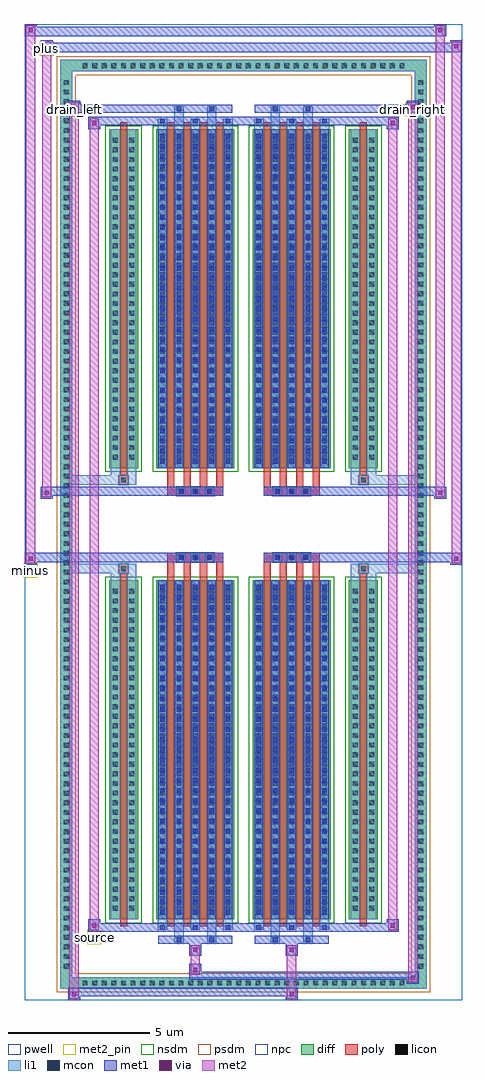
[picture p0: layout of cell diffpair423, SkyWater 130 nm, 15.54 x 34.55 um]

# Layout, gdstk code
import gdstk
lib = gdstk.Library(unit=1e-6, precision=5e-09)
def R(c, l, rs):  # rectangles x0, y0, x1, y1
    for r in rs: c.add(gdstk.rectangle(r[:2], r[2:], *l))
def A(c, l, x, y, w, h, nx, ny, dx, dy):  # array of equal rectangles
    R(c, l, [(x+i*dx, y+j*dy, x+i*dx+w, y+j*dy+h) for i in range(nx) for j in range(ny)])
def P(c, l, *ps):  # polygons
    for p in ps: c.add(gdstk.Polygon(p, *l))
pwell = (64, 44)
diff = (65, 20)
poly = (66, 20)
licon = (66, 44)
li1 = (67, 20)
mcon = (67, 44)
met1 = (68, 20)
via = (68, 44)
met2_pin = (69, 16)
met2 = (69, 20)
nsdm = (93, 44)
psdm = (94, 20)
npc = (95, 20)

diffpair423 = lib.new_cell('diffpair423')
R(diffpair423, pwell, [(-7.75,-16.84,7.75,17.71), (-5.07,-15.03,-0.01,-0.805), (0.01,-15.03,5.07,-0.805), (-5.07,0.805,-0.01,15.03), (0.01,0.805,5.07,15.03)])
A(diffpair423, diff, -5.815, -16.44, 0.41, 0.41, 34, 2, 0.34, 32.47)
A(diffpair423, diff, -6.48, -15.845, 0.41, 0.41, 1, 93, 0, 0.34)
A(diffpair423, diff, 6.07, -15.845, 0.41, 0.41, 1, 93, 0, 0.34)
R(diffpair423, diff, [(-5.815,-16.44,5.815,-16.03), (-6.48,-15.845,-6.07,15.845), (6.07,-15.845,6.48,15.845), (-4.76,-13.985,-3.73,-1.985), (-3.09,-13.985,-0.32,-1.985), (0.32,-13.985,3.09,-1.985), (3.73,-13.985,4.76,-1.985), (-4.76,1.985,-3.73,13.985), (-3.09,1.985,-0.32,13.985), (0.32,1.985,3.09,13.985), (3.73,1.985,4.76,13.985), (-5.815,16.03,5.815,16.44)])
P(diffpair423, diff, [(6.48,16.44),(-6.48,16.44),(-6.48,-16.03),(-6.07,-16.03),(-6.07,16.03),(6.07,16.03),(6.07,-16.03),(-6.07,-16.03),(-6.48,-16.03),(-6.48,-16.44),(6.48,-16.44)])
A(diffpair423, poly, -2.7, -14.235, 0.25, 12.5, 4, 2, 0.58, 15.97)
A(diffpair423, poly, 0.71, -14.235, 0.25, 12.5, 4, 2, 0.58, 15.97)
A(diffpair423, poly, -2.7, -1.735, 0.25, 0.4, 4, 2, 0.58, 3.07)
A(diffpair423, poly, 0.71, -1.735, 0.25, 0.4, 4, 2, 0.58, 3.07)
A(diffpair423, poly, -2.37, -1.335, 0.33, 0.33, 3, 2, 0.5, 2.34)
A(diffpair423, poly, 1.04, -1.335, 0.33, 0.33, 3, 2, 0.5, 2.34)
R(diffpair423, poly, [(-4.37,-14.235,-4.12,-1.735), (4.12,-14.235,4.37,-1.735), (-4.41,-1.735,-4.08,-1.405), (-4.41,-1.735,-4.08,-1.405), (4.08,-1.735,4.41,-1.405), (4.08,-1.735,4.41,-1.405), (-2.7,-1.335,-0.71,-1.005), (0.71,-1.335,2.7,-1.005), (-2.7,1.005,-0.71,1.335), (0.71,1.005,2.7,1.335), (-4.41,1.405,-4.08,1.735), (-4.41,1.405,-4.08,1.735), (4.08,1.405,4.41,1.735), (4.08,1.405,4.41,1.735), (-4.37,1.735,-4.12,14.235), (4.12,1.735,4.37,14.235)])
A(diffpair423, licon, -5.695, -16.32, 0.17, 0.17, 34, 2, 0.34, 32.47)
A(diffpair423, licon, -6.36, -15.725, 0.17, 0.17, 1, 93, 0, 0.34)
A(diffpair423, licon, 6.19, -15.725, 0.17, 0.17, 1, 93, 0, 0.34)
A(diffpair423, licon, -4.62, -13.68, 0.17, 0.17, 1, 34, 0, 0.34)
A(diffpair423, licon, -4.04, -13.68, 0.17, 0.17, 1, 34, 0, 0.34)
A(diffpair423, licon, -2.95, -13.68, 0.17, 0.17, 5, 34, 0.58, 0.34)
A(diffpair423, licon, 0.46, -13.68, 0.17, 0.17, 5, 34, 0.58, 0.34)
A(diffpair423, licon, 3.87, -13.68, 0.17, 0.17, 1, 34, 0, 0.34)
A(diffpair423, licon, 4.45, -13.68, 0.17, 0.17, 1, 34, 0, 0.34)
A(diffpair423, licon, -2.29, -1.255, 0.17, 0.17, 3, 2, 0.5, 2.34)
A(diffpair423, licon, 1.12, -1.255, 0.17, 0.17, 3, 2, 0.5, 2.34)
A(diffpair423, licon, -4.62, 2.29, 0.17, 0.17, 1, 34, 0, 0.34)
A(diffpair423, licon, -4.04, 2.29, 0.17, 0.17, 1, 34, 0, 0.34)
A(diffpair423, licon, -2.95, 2.29, 0.17, 0.17, 5, 34, 0.58, 0.34)
A(diffpair423, licon, 0.46, 2.29, 0.17, 0.17, 5, 34, 0.58, 0.34)
A(diffpair423, licon, 3.87, 2.29, 0.17, 0.17, 1, 34, 0, 0.34)
A(diffpair423, licon, 4.45, 2.29, 0.17, 0.17, 1, 34, 0, 0.34)
R(diffpair423, licon, [(-4.33,-1.655,-4.16,-1.485), (4.16,-1.655,4.33,-1.485), (-4.33,1.485,-4.16,1.655), (4.16,1.485,4.33,1.655)])
A(diffpair423, li1, -5.775, -16.4, 0.33, 0.33, 34, 2, 0.34, 32.47)
A(diffpair423, li1, -6.44, -15.805, 0.33, 0.33, 1, 93, 0, 0.34)
A(diffpair423, li1, 6.11, -15.805, 0.33, 0.33, 1, 93, 0, 0.34)
A(diffpair423, li1, -3.03, -14.36, 0.33, 0.375, 3, 2, 1.16, 28.345)
A(diffpair423, li1, -2.95, -14.36, 0.17, 0.17, 3, 2, 1.16, 28.55)
A(diffpair423, li1, 0.38, -14.36, 0.33, 0.375, 3, 2, 1.16, 28.345)
A(diffpair423, li1, 0.46, -14.36, 0.17, 0.17, 3, 2, 1.16, 28.55)
A(diffpair423, li1, -3.03, -13.985, 0.33, 12, 5, 2, 0.58, 15.97)
A(diffpair423, li1, 0.38, -13.985, 0.33, 12, 5, 2, 0.58, 15.97)
A(diffpair423, li1, -2.95, -13.83, 0.17, 0.17, 5, 33, 0.58, 0.36)
A(diffpair423, li1, -2.95, -13.83, 0.17, 11.69, 5, 2, 0.58, 15.97)
A(diffpair423, li1, 0.46, -13.83, 0.17, 0.17, 5, 33, 0.58, 0.36)
A(diffpair423, li1, 0.46, -13.83, 0.17, 11.69, 5, 2, 0.58, 15.97)
A(diffpair423, li1, -4.7, -13.76, 0.33, 0.33, 1, 34, 0, 0.34)
A(diffpair423, li1, -4.12, -13.76, 0.33, 0.33, 1, 34, 0, 0.34)
A(diffpair423, li1, -3.03, -13.76, 0.33, 0.33, 5, 34, 0.58, 0.34)
A(diffpair423, li1, 0.38, -13.76, 0.33, 0.33, 5, 34, 0.58, 0.34)
A(diffpair423, li1, 3.79, -13.76, 0.33, 0.33, 1, 34, 0, 0.34)
A(diffpair423, li1, 4.37, -13.76, 0.33, 0.33, 1, 34, 0, 0.34)
A(diffpair423, li1, -2.37, -1.335, 0.33, 0.33, 3, 2, 0.5, 2.34)
A(diffpair423, li1, 1.04, -1.335, 0.33, 0.33, 3, 2, 0.5, 2.34)
A(diffpair423, li1, -2.95, 2.14, 0.17, 0.17, 5, 33, 0.58, 0.36)
A(diffpair423, li1, 0.46, 2.14, 0.17, 0.17, 5, 33, 0.58, 0.36)
A(diffpair423, li1, -4.7, 2.21, 0.33, 0.33, 1, 34, 0, 0.34)
A(diffpair423, li1, -4.12, 2.21, 0.33, 0.33, 1, 34, 0, 0.34)
A(diffpair423, li1, -3.03, 2.21, 0.33, 0.33, 5, 34, 0.58, 0.34)
A(diffpair423, li1, 0.38, 2.21, 0.33, 0.33, 5, 34, 0.58, 0.34)
A(diffpair423, li1, 3.79, 2.21, 0.33, 0.33, 1, 34, 0, 0.34)
A(diffpair423, li1, 4.37, 2.21, 0.33, 0.33, 1, 34, 0, 0.34)
R(diffpair423, li1, [(-6.48,-16.44,-6.07,-16.03), (-6.48,-16.44,-6.07,-16.03), (-6.07,-16.44,6.07,-16.03), (6.07,-16.44,6.48,-16.03), (6.07,-16.44,6.48,-16.03), (-6.48,-16.03,-6.07,16.03), (6.07,-16.03,6.48,16.03), (-2.45,-14.79,-2.12,-13.985), (-2.37,-14.79,-2.2,-14.62), (-1.29,-14.79,-0.96,-13.985), (-1.21,-14.79,-1.04,-14.62), (0.96,-14.79,1.29,-13.985), (1.04,-14.79,1.21,-14.62), (2.12,-14.79,2.45,-13.985), (2.2,-14.79,2.37,-14.62), (-4.7,-13.985,-4.37,-1.985), (-4.12,-13.985,-3.79,-1.985), (3.79,-13.985,4.12,-1.985), (4.37,-13.985,4.7,-1.985), (-4.7,-1.985,-4.37,-1.405), (-4.12,-1.985,-3.79,-1.405), (3.79,-1.985,4.12,-1.405), (4.37,-1.985,4.7,-1.405), (-6.48,-1.735,-4.41,-1.405), (-4.7,-1.735,-4.41,-1.405), (-4.41,-1.735,-4.08,-1.405), (-4.08,-1.735,-3.79,-1.405), (3.79,-1.735,4.08,-1.405), (4.08,-1.735,4.41,-1.405), (4.08,-1.735,6.48,-1.405), (4.41,-1.735,4.7,-1.405), (-6.48,1.405,-4.41,1.735), (-4.7,1.405,-4.41,1.735), (-4.7,1.405,-4.37,1.985), (-4.41,1.405,-4.08,1.735), (-4.12,1.405,-3.79,1.985), (-4.08,1.405,-3.79,1.735), (3.79,1.405,4.08,1.735), (3.79,1.405,4.12,1.985), (4.08,1.405,4.41,1.735), (4.08,1.405,6.48,1.735), (4.37,1.405,4.7,1.985), (4.41,1.405,4.7,1.735), (-4.7,1.985,-4.37,13.985), (-4.12,1.985,-3.79,13.985), (3.79,1.985,4.12,13.985), (4.37,1.985,4.7,13.985), (-2.45,13.985,-2.12,14.79), (-1.29,13.985,-0.96,14.79), (0.96,13.985,1.29,14.79), (2.12,13.985,2.45,14.79), (-2.37,14.62,-2.2,14.79), (-1.21,14.62,-1.04,14.79), (1.04,14.62,1.21,14.79), (2.2,14.62,2.37,14.79), (-6.48,16.03,-6.07,16.44), (-6.48,16.03,-6.07,16.44), (-6.07,16.03,6.07,16.44), (6.07,16.03,6.48,16.44), (6.07,16.03,6.48,16.44)])
A(diffpair423, mcon, -2.95, -14.36, 0.17, 0.17, 3, 2, 1.16, 28.55)
A(diffpair423, mcon, 0.46, -14.36, 0.17, 0.17, 3, 2, 1.16, 28.55)
A(diffpair423, mcon, -2.95, -13.83, 0.17, 0.17, 5, 33, 0.58, 0.36)
A(diffpair423, mcon, 0.46, -13.83, 0.17, 0.17, 5, 33, 0.58, 0.36)
A(diffpair423, mcon, -2.29, -1.255, 0.17, 0.17, 3, 2, 0.5, 2.34)
A(diffpair423, mcon, 1.12, -1.255, 0.17, 0.17, 3, 2, 0.5, 2.34)
A(diffpair423, mcon, -2.95, 2.14, 0.17, 0.17, 5, 33, 0.58, 0.36)
A(diffpair423, mcon, 0.46, 2.14, 0.17, 0.17, 5, 33, 0.58, 0.36)
R(diffpair423, mcon, [(-2.37,-14.79,-2.2,-14.62), (-1.21,-14.79,-1.04,-14.62), (1.04,-14.79,1.21,-14.62), (2.2,-14.79,2.37,-14.62), (-2.37,14.62,-2.2,14.79), (-1.21,14.62,-1.04,14.79), (1.04,14.62,1.21,14.79), (2.2,14.62,2.37,14.79)])
A(diffpair423, met1, -3.01, -14.42, 0.29, 0.29, 3, 2, 1.16, 28.55)
A(diffpair423, met1, 0.4, -14.42, 0.29, 0.29, 3, 2, 1.16, 28.55)
A(diffpair423, met1, -3.01, -13.985, 0.29, 12, 5, 2, 0.58, 15.97)
A(diffpair423, met1, 0.4, -13.985, 0.29, 12, 5, 2, 0.58, 15.97)
A(diffpair423, met1, -3.01, -13.89, 0.29, 0.29, 5, 33, 0.58, 0.36)
A(diffpair423, met1, 0.4, -13.89, 0.29, 0.29, 5, 33, 0.58, 0.36)
A(diffpair423, met1, -2.35, -1.315, 0.29, 0.29, 3, 2, 0.5, 2.34)
A(diffpair423, met1, 1.06, -1.315, 0.29, 0.29, 3, 2, 0.5, 2.34)
A(diffpair423, met1, -3.01, 2.08, 0.29, 0.29, 5, 33, 0.58, 0.36)
A(diffpair423, met1, 0.4, 2.08, 0.29, 0.29, 5, 33, 0.58, 0.36)
R(diffpair423, met1, [(-6.21,-16.84,-5.78,-16.41), (1.49,-16.84,1.92,-16.41), (-6.21,-16.7,1.92,-16.41), (5.78,-16.27,6.21,-15.84), (-1.92,-16.13,6.21,-15.84), (-1.92,-15.99,-1.49,-15.56), (-1.92,-15.28,-1.49,-14.85), (1.49,-15.28,1.92,-14.85), (-3.01,-14.85,-0.4,-14.56), (-2.43,-14.85,-2.14,-14.56), (-1.27,-14.85,-0.98,-14.56), (0.4,-14.85,3.01,-14.56), (0.98,-14.85,1.27,-14.56), (2.14,-14.85,2.43,-14.56), (-5.5,-14.42,-5.07,-13.99), (-5.5,-14.42,-3.01,-14.13), (-3.01,-14.42,-0.4,-14.13), (-0.4,-14.42,0.4,-14.13), (0.4,-14.42,3.01,-14.13), (3.01,-14.42,5.5,-14.13), (5.07,-14.42,5.5,-13.99), (-7.75,-1.435,-7.32,-1.005), (7.32,-1.435,7.75,-1.005), (-7.75,-1.335,-0.71,-1.005), (-2.7,-1.335,-0.71,-1.005), (0.71,-1.335,2.7,-1.005), (0.71,-1.335,7.75,-1.005), (-7.18,0.905,-6.75,1.335), (6.75,0.905,7.18,1.335), (-7.18,1.005,-2.7,1.335), (-2.7,1.005,-0.71,1.335), (0.71,1.005,2.7,1.335), (2.7,1.005,7.18,1.335), (-5.5,13.99,-5.07,14.42), (5.07,13.99,5.5,14.42), (-5.5,14.13,-3.01,14.42), (-3.01,14.13,-0.4,14.42), (-0.4,14.13,0.4,14.42), (0.4,14.13,3.01,14.42), (3.01,14.13,5.5,14.42), (-6.21,14.56,-5.78,14.99), (-6.21,14.56,-3.01,14.85), (-3.01,14.56,-0.4,14.85), (-2.43,14.56,-2.14,14.85), (-1.27,14.56,-0.98,14.85), (0.4,14.56,3.01,14.85), (0.98,14.56,1.27,14.85), (2.14,14.56,2.43,14.85), (3.01,14.56,6.21,14.85), (5.78,14.56,6.21,14.99), (-7.18,16.71,-6.75,17.14), (-7.18,16.71,-5.07,17.04), (-5.07,16.71,5.07,17.04), (5.07,16.71,7.75,17.04), (7.32,16.71,7.75,17.14), (-7.75,17.28,-7.32,17.71), (-7.75,17.28,-5.07,17.61), (-5.07,17.28,5.07,17.61), (5.07,17.28,7.18,17.61), (6.75,17.28,7.18,17.71)])
R(diffpair423, via, [(-6.07,-16.7,-5.92,-16.55), (1.63,-16.7,1.78,-16.55), (5.92,-16.13,6.07,-15.98), (-1.78,-15.85,-1.63,-15.7), (-1.78,-15.14,-1.63,-14.99), (1.63,-15.14,1.78,-14.99), (-5.36,-14.28,-5.21,-14.13), (5.21,-14.28,5.36,-14.13), (-7.61,-1.295,-7.46,-1.145), (7.46,-1.295,7.61,-1.145), (-7.04,1.045,-6.89,1.195), (6.89,1.045,7.04,1.195), (-5.36,14.13,-5.21,14.28), (5.21,14.13,5.36,14.28), (-6.07,14.7,-5.92,14.85), (5.92,14.7,6.07,14.85), (-7.04,16.85,-6.89,17), (7.46,16.85,7.61,17), (-7.61,17.42,-7.46,17.57), (6.89,17.42,7.04,17.57)])
R(diffpair423, met2_pin, [(-5.535,-14.87,-5.035,-14.37), (-7.785,-1.885,-7.285,-1.385), (-6.245,14.44,-5.745,14.94), (5.745,14.44,6.245,14.94), (-7.215,16.59,-6.715,17.09)])
R(diffpair423, met2, [(-6.16,-16.79,-5.83,-16.46), (-6.16,-16.79,-5.83,14.94), (1.54,-16.79,1.87,-16.46), (1.54,-16.46,1.87,-15.23), (5.83,-16.22,6.16,-15.89), (5.83,-16.22,6.16,14.94), (-1.87,-15.94,-1.54,-15.61), (-1.87,-15.61,-1.54,-15.23), (-1.87,-15.23,-1.54,-14.9), (1.54,-15.23,1.87,-14.9), (-5.45,-14.37,-5.12,-14.04), (-5.45,-14.37,-5.12,14.37), (5.12,-14.37,5.45,-14.04), (5.12,-14.37,5.45,14.37), (-7.7,-1.385,-7.37,-1.055), (-7.7,-1.385,-7.37,17.66), (7.37,-1.385,7.7,-1.055), (7.37,-1.385,7.7,17.09), (-7.13,0.955,-6.8,1.285), (-7.13,0.955,-6.8,17.09), (6.8,0.955,7.13,1.285), (6.8,0.955,7.13,17.66), (-5.45,14.04,-5.12,14.37), (5.12,14.04,5.45,14.37), (-6.16,14.61,-5.83,14.94), (5.83,14.61,6.16,14.94), (-7.13,16.76,-6.8,17.09), (7.37,16.76,7.7,17.09), (-7.7,17.33,-7.37,17.66), (6.8,17.33,7.13,17.66)])
P(diffpair423, met2, [(7.7,-1.385),(7.7,-1.385),(7.7,-1.055),(7.7,-1.055)],
  [(7.7,16.76),(7.7,16.76),(7.7,17.09),(7.7,17.09)],
  [(-7.37,-1.385),(-7.37,-1.385),(-7.37,-1.055),(-7.37,-1.055)],
  [(-7.37,17.33),(-7.37,17.33),(-7.37,17.66),(-7.37,17.66)],
  [(7.13,0.955),(7.13,0.955),(7.13,1.285),(7.13,1.285)],
  [(7.13,17.33),(7.13,17.33),(7.13,17.66),(7.13,17.66)],
  [(-6.8,0.955),(-6.8,0.955),(-6.8,1.285),(-6.8,1.285)],
  [(-6.8,16.76),(-6.8,16.76),(-6.8,17.09),(-6.8,17.09)],
  [(-5.83,-16.79),(-5.83,-16.79),(-5.83,-16.46),(-5.83,-16.46)],
  [(-5.83,14.61),(-5.83,14.61),(-5.83,14.94),(-5.83,14.94)],
  [(6.16,-16.22),(6.16,-16.22),(6.16,-15.89),(6.16,-15.89)],
  [(6.16,14.61),(6.16,14.61),(6.16,14.94),(6.16,14.94)],
  [(-5.12,-14.37),(-5.12,-14.37),(-5.12,-14.04),(-5.12,-14.04)],
  [(-5.12,14.04),(-5.12,14.04),(-5.12,14.37),(-5.12,14.37)],
  [(5.45,-14.37),(5.45,-14.37),(5.45,-14.04),(5.45,-14.04)],
  [(5.45,14.04),(5.45,14.04),(5.45,14.37),(5.45,14.37)])
R(diffpair423, nsdm, [(-4.89,-14.115,-3.6,-1.855), (-3.22,-14.115,-0.19,-1.855), (0.19,-14.115,3.22,-1.855), (3.6,-14.115,4.89,-1.855), (-4.89,1.855,-3.6,14.115), (-3.22,1.855,-0.19,14.115), (0.19,1.855,3.22,14.115), (3.6,1.855,4.89,14.115)])
P(diffpair423, psdm, [(6.61,16.57),(-6.61,16.57),(-6.61,-15.9),(-5.94,-15.9),(-5.94,15.9),(5.94,15.9),(5.94,-15.9),(-5.94,-15.9),(-6.61,-15.9),(-6.61,-16.57),(6.61,-16.57)])
A(diffpair423, npc, -2.39, -1.355, 0.37, 0.37, 3, 2, 0.5, 2.34)
A(diffpair423, npc, 1.02, -1.355, 0.37, 0.37, 3, 2, 0.5, 2.34)
R(diffpair423, npc, [(-4.43,-1.755,-4.06,-1.385), (4.06,-1.755,4.43,-1.385), (-2.39,-1.355,-1.52,-0.985), (-2.39,-1.355,-1.52,-0.985), (-1.89,-1.355,-1.02,-0.985), (-1.89,-1.355,-1.02,-0.985), (1.02,-1.355,1.89,-0.985), (1.02,-1.355,1.89,-0.985), (1.52,-1.355,2.39,-0.985), (1.52,-1.355,2.39,-0.985), (-2.39,0.985,-1.52,1.355), (-2.39,0.985,-1.52,1.355), (-1.89,0.985,-1.02,1.355), (-1.89,0.985,-1.02,1.355), (1.02,0.985,1.89,1.355), (1.02,0.985,1.89,1.355), (1.52,0.985,2.39,1.355), (1.52,0.985,2.39,1.355), (-4.43,1.385,-4.06,1.755), (4.06,1.385,4.43,1.755)])
diffpair423.add(gdstk.Label('minus', (-7.535,-1.635), layer=69, texttype=5))
diffpair423.add(gdstk.Label('drain_right', (5.995,14.69), layer=69, texttype=5))
diffpair423.add(gdstk.Label('drain_left', (-5.995,14.69), layer=69, texttype=5))
diffpair423.add(gdstk.Label('source', (-5.285,-14.62), layer=69, texttype=5))
diffpair423.add(gdstk.Label('plus', (-6.965,16.84), layer=69, texttype=5))

lib.write_gds('diffpair423.gds')
